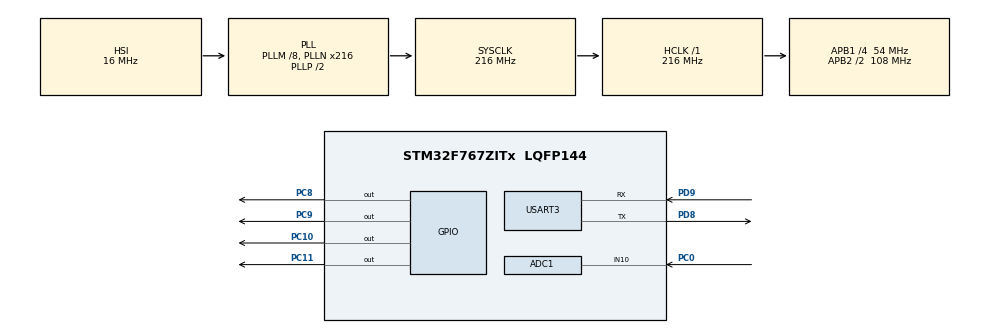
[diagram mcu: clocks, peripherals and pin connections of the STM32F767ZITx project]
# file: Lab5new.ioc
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ADC1.Channel-1\#ChannelRegularConversion=ADC_CHANNEL_10
ADC1.ContinuousConvMode=ENABLE
ADC1.EOCSelection=ADC_EOC_SEQ_CONV
ADC1.NbrOfConversionFlag=1
ADC1.Rank-1\#ChannelRegularConversion=1
ADC1.SamplingTime-1\#ChannelRegularConversion=ADC_SAMPLETIME_3CYCLES
ADC1.master=1
Mcu.Family=STM32F7
Mcu.Name=STM32F767ZITx
Mcu.Package=LQFP144
NVIC.PriorityGroup=NVIC_PRIORITYGROUP_4
PC0.Signal=SharedAnalog_PC0
PC10.Signal=GPIO_Output
PC11.Signal=GPIO_Output
PC8.Signal=GPIO_Output
PC9.Signal=GPIO_Output
PD8.Mode=Asynchronous
PD8.Signal=USART3_TX
PD9.Mode=Asynchronous
PD9.Signal=USART3_RX
ProjectManager.HeapSize=0x200
ProjectManager.StackSize=0x400
ProjectManager.TargetToolchain=STM32CubeIDE
RCC.AHBFreq_Value=216000000
RCC.APB1CLKDivider=RCC_HCLK_DIV4
RCC.APB1Freq_Value=54000000
RCC.APB1TimFreq_Value=108000000
RCC.APB2CLKDivider=RCC_HCLK_DIV2
RCC.APB2Freq_Value=108000000
RCC.APB2TimFreq_Value=216000000
RCC.CortexFreq_Value=216000000
RCC.HCLKFreq_Value=216000000
RCC.HSE_VALUE=25000000
RCC.HSI_VALUE=16000000
RCC.LSE_VALUE=32768
RCC.PLLM=8
RCC.PLLN=216
RCC.SYSCLKFreq_VALUE=216000000
RCC.SYSCLKSource=RCC_SYSCLKSOURCE_PLLCLK
RCC.USBFreq_Value=216000000
RCC.VCOOutputFreq_Value=432000000
SH.SharedAnalog_PC0.0=GPIO_Analog
SH.SharedAnalog_PC0.1=ADC1_IN10,IN10
USART3.VirtualMode-Asynchronous=VM_ASYNC
board=custom

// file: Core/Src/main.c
/* USER CODE BEGIN Header */
/**
  ******************************************************************************
  * @file           : main.c
  * @brief          : Main program body
  ******************************************************************************
  * @attention
  *
  * Copyright (c) 2023 STMicroelectronics.
  * All rights reserved.
  *
  * This software is licensed under terms that can be found in the LICENSE file
  * in the root directory of this software component.
  * If no LICENSE file comes with this software, it is provided AS-IS.
  *
  ******************************************************************************
  */
/* USER CODE END Header */
#include "main.h"
#include "adc.h"
#include "usart.h"
#include "gpio.h"

/* USER CODE BEGIN PV */
volatile uint32_t adc_val = 0;
int adc_8=0;
 int adc_16=0;
void displayHex(uint32_t num , float Adc){
	char hex_Str[33];

	sprintf(hex_Str, "ADC1_CH10 0x%08X Vin = %.2f V\r\n" , num, Adc);

	HAL_UART_Transmit(&huart3, (uint8_t*) &hex_Str,strlen(hex_Str),1000);
}
int average_8(int x){
    static int samples[8];
    static int i = 0;
    static int total = 0;

    total += x - samples[i];
    samples[i] = x;

    i = (i==7 ? 0 : i+1);

    return total>>3;
}

int average_16(int x){
    static int samples[16];
    static int i = 0;
    static int total = 0;

    total += x - samples[i];
    samples[i] = x;

    i = (i==15 ? 0 : i+1);

    return total>>4;
}
/* USER CODE END PV */

void SystemClock_Config(void);

int main(void)
{

  /* MCU Configuration--------------------------------------------------------*/

  /* Reset of all peripherals, Initializes the Flash interface and the Systick. */
  HAL_Init();

  /* Configure the system clock */
  SystemClock_Config();

  /* Initialize all configured peripherals */
  MX_GPIO_Init();
  MX_ADC1_Init();
  MX_USART3_UART_Init();
  /* USER CODE BEGIN 2 */

  uint32_t hex1 = 504;
  HAL_ADC_Start(&hadc1);

  /* USER CODE END 2 */

  /* Infinite loop */
  while (1)
  {

    /* USER CODE BEGIN 3 */
//	  while(HAL_ADC_PollForConversion(&hadc1,100)!=HAL_OK){}
//	  adc_val = HAL_ADC_GetValue(&hadc1);
//	  float val =(float)adc_val*3.3/4095;
//	  displayHex(adc_val,val);
	  while(HAL_ADC_PollForConversion(&hadc1,100)!=HAL_OK){}
	  adc_val = HAL_ADC_GetValue(&hadc1);
	  float val =(float)adc_val*3.3/4095;
	  if(val>=0&&val<=0.66){
		  HAL_GPIO_WritePin(GPIOC,GPIO_PIN_8,GPIO_PIN_RESET);
		  HAL_GPIO_WritePin(GPIOC,GPIO_PIN_9,GPIO_PIN_RESET);
		  HAL_GPIO_WritePin(GPIOC,GPIO_PIN_10,GPIO_PIN_RESET);
		  HAL_GPIO_WritePin(GPIOC,GPIO_PIN_11,GPIO_PIN_RESET);
	  }
	  else if(val>=0.66&&val<=1.32){
		  HAL_GPIO_WritePin(GPIOC,GPIO_PIN_8,GPIO_PIN_SET);
		  HAL_GPIO_WritePin(GPIOC,GPIO_PIN_9,GPIO_PIN_RESET);
		  HAL_GPIO_WritePin(GPIOC,GPIO_PIN_10,GPIO_PIN_RESET);
		  HAL_GPIO_WritePin(GPIOC,GPIO_PIN_11,GPIO_PIN_RESET);

	  }else if(val>=1.32&&val<=1.98)
	  {
		  HAL_GPIO_WritePin(GPIOC,GPIO_PIN_8,GPIO_PIN_SET);
		  		  HAL_GPIO_WritePin(GPIOC,GPIO_PIN_9,GPIO_PIN_SET);
		  		  HAL_GPIO_WritePin(GPIOC,GPIO_PIN_10,GPIO_PIN_RESET);
		  		  HAL_GPIO_WritePin(GPIOC,GPIO_PIN_11,GPIO_PIN_RESET);
	  }
	  else if(val>=1.98&&val<=2.64){
		  HAL_GPIO_WritePin(GPIOC,GPIO_PIN_8,GPIO_PIN_SET);
		  		  HAL_GPIO_WritePin(GPIOC,GPIO_PIN_9,GPIO_PIN_SET);
		  		  HAL_GPIO_WritePin(GPIOC,GPIO_PIN_10,GPIO_PIN_SET);
		  		  HAL_GPIO_WritePin(GPIOC,GPIO_PIN_11,GPIO_PIN_RESET);
	  	 }
	  else if(val>=2.64&&val<=3.30){
		  HAL_GPIO_WritePin(GPIOC,GPIO_PIN_8,GPIO_PIN_SET);
		  		  HAL_GPIO_WritePin(GPIOC,GPIO_PIN_9,GPIO_PIN_SET);
		  		  HAL_GPIO_WritePin(GPIOC,GPIO_PIN_10,GPIO_PIN_SET);
		  		  HAL_GPIO_WritePin(GPIOC,GPIO_PIN_11,GPIO_PIN_SET);
	  }
//	  adc_8 = average_8(adc_val);
//	  adc_16 = average_16(adc_val);
	  displayHex(adc_val,val);
	  HAL_Delay(400);

  }
  /* USER CODE END 3 */
}

void SystemClock_Config(void)
{
  RCC_OscInitTypeDef RCC_OscInitStruct = {0};
  RCC_ClkInitTypeDef RCC_ClkInitStruct = {0};

  /** Configure the main internal regulator output voltage
  */
  __HAL_RCC_PWR_CLK_ENABLE();
  __HAL_PWR_VOLTAGESCALING_CONFIG(PWR_REGULATOR_VOLTAGE_SCALE1);

  /** Initializes the RCC Oscillators according to the specified parameters
  * in the RCC_OscInitTypeDef structure.
  */
  RCC_OscInitStruct.OscillatorType = RCC_OSCILLATORTYPE_HSI;
  RCC_OscInitStruct.HSIState = RCC_HSI_ON;
  RCC_OscInitStruct.HSICalibrationValue = RCC_HSICALIBRATION_DEFAULT;
  RCC_OscInitStruct.PLL.PLLState = RCC_PLL_ON;
  RCC_OscInitStruct.PLL.PLLSource = RCC_PLLSOURCE_HSI;
  RCC_OscInitStruct.PLL.PLLM = 8;
  RCC_OscInitStruct.PLL.PLLN = 216;
  RCC_OscInitStruct.PLL.PLLP = RCC_PLLP_DIV2;
  RCC_OscInitStruct.PLL.PLLQ = 2;
  RCC_OscInitStruct.PLL.PLLR = 2;
  if (HAL_RCC_OscConfig(&RCC_OscInitStruct) != HAL_OK)
  {
    Error_Handler();
  }

  /** Activate the Over-Drive mode
  */
  if (HAL_PWREx_EnableOverDrive() != HAL_OK)
  {
    Error_Handler();
  }

  /** Initializes the CPU, AHB and APB buses clocks
  */
  RCC_ClkInitStruct.ClockType = RCC_CLOCKTYPE_HCLK|RCC_CLOCKTYPE_SYSCLK
                              |RCC_CLOCKTYPE_PCLK1|RCC_CLOCKTYPE_PCLK2;
  RCC_ClkInitStruct.SYSCLKSource = RCC_SYSCLKSOURCE_PLLCLK;
  RCC_ClkInitStruct.AHBCLKDivider = RCC_SYSCLK_DIV1;
  RCC_ClkInitStruct.APB1CLKDivider = RCC_HCLK_DIV4;
  RCC_ClkInitStruct.APB2CLKDivider = RCC_HCLK_DIV2;

  if (HAL_RCC_ClockConfig(&RCC_ClkInitStruct, FLASH_LATENCY_7) != HAL_OK)
  {
    Error_Handler();
  }
}

void Error_Handler(void)
{
  __disable_irq();
  while (1)
  {
  }
}
